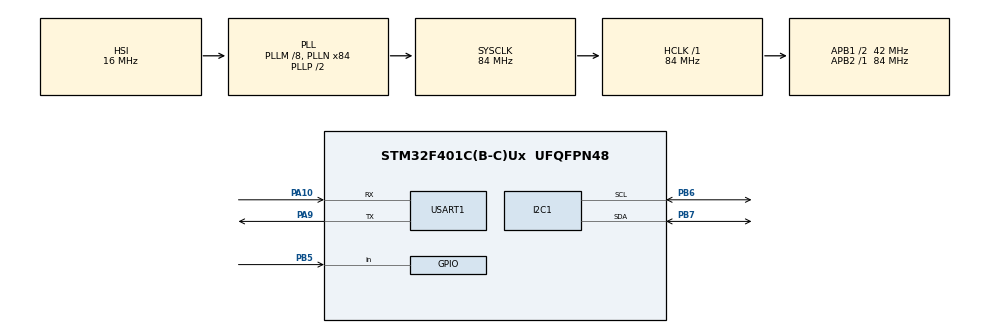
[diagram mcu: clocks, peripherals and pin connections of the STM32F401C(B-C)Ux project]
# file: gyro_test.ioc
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I2C1.I2C_Mode=I2C_Fast
Mcu.Family=STM32F4
Mcu.Name=STM32F401C(B-C)Ux
Mcu.Package=UFQFPN48
NVIC.PriorityGroup=NVIC_PRIORITYGROUP_4
PA10.Mode=Asynchronous
PA10.Signal=USART1_RX
PA9.Mode=Asynchronous
PA9.Signal=USART1_TX
PB5.Signal=GPIO_Input
PB6.Mode=I2C
PB6.Signal=I2C1_SCL
PB7.Mode=I2C
PB7.Signal=I2C1_SDA
ProjectManager.HeapSize=0x200
ProjectManager.StackSize=0x400
ProjectManager.TargetToolchain=STM32CubeIDE
RCC.48MHZClocksFreq_Value=42000000
RCC.AHBFreq_Value=84000000
RCC.APB1CLKDivider=RCC_HCLK_DIV2
RCC.APB1Freq_Value=42000000
RCC.APB1TimFreq_Value=84000000
RCC.APB2Freq_Value=84000000
RCC.APB2TimFreq_Value=84000000
RCC.CortexFreq_Value=84000000
RCC.HCLKFreq_Value=84000000
RCC.HSE_VALUE=25000000
RCC.HSI_VALUE=16000000
RCC.LSE_VALUE=32768
RCC.PLLM=8
RCC.PLLN=84
RCC.SYSCLKFreq_VALUE=84000000
RCC.SYSCLKSource=RCC_SYSCLKSOURCE_PLLCLK
RCC.VCOOutputFreq_Value=168000000
USART1.VirtualMode=VM_ASYNC
board=custom

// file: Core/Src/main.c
/* USER CODE BEGIN Header */
/**
  ******************************************************************************
  * @file           : main.c
  * @brief          : Main program body
  ******************************************************************************
  * @attention
  *
  * Copyright (c) 2025 STMicroelectronics.
  * All rights reserved.
  *
  * This software is licensed under terms that can be found in the LICENSE file
  * in the root directory of this software component.
  * If no LICENSE file comes with this software, it is provided AS-IS.
  *
  ******************************************************************************
  */
/* USER CODE END Header */
#include "main.h"
#include "i2c.h"
#include "usart.h"
#include "gpio.h"

/* USER CODE BEGIN Includes */
#include "MPU6050.h"
#include <stdio.h>
/* USER CODE END Includes */

void SystemClock_Config(void);

/* USER CODE BEGIN 0 */
// Send printf to uart1
int _write(int fd, char* ptr, int len) {
  HAL_StatusTypeDef hstatus;

  if (fd == 1 || fd == 2) {
    hstatus = HAL_UART_Transmit(&huart1, (uint8_t *) ptr, len, HAL_MAX_DELAY);
    if (hstatus == HAL_OK)
      return len;
    else
      return -1;
  }
  return -1;
}
/* USER CODE END 0 */

int main(void)
{

  /* MCU Configuration--------------------------------------------------------*/

  /* Reset of all peripherals, Initializes the Flash interface and the Systick. */
  HAL_Init();

  /* Configure the system clock */
  SystemClock_Config();

  /* Initialize all configured peripherals */
  MX_GPIO_Init();
  MX_I2C1_Init();
  MX_USART1_UART_Init();
  /* USER CODE BEGIN 2 */
  MPU6050_t mpu;

  HAL_Delay(50);

  printf("STM32 Booting...\r\n");
  HAL_Delay(10);

  if (MPU6050_Init(&mpu, &hi2c1, 1, 0) != 0) {
      printf("MPU6050 initialization failed!\r\n");
      while(1);
  }

  printf("MPU6050 Initialized\r\n");
  HAL_Delay(10);

  HAL_Delay(100);  // stabilize

  printf("Starting MPU6050 Calibration... keep board still!\r\n");
  HAL_Delay(10);

  MPU6050_CalcOffsets(&mpu, 1, 1);  // 1 = yes, calibrate gyro & accel
  printf("Calibration Done!\r\n");
  HAL_Delay(10);

  float angz=0;
  uint32_t t = 0;
  uint32_t now=0;
  /* USER CODE END 2 */

  /* Infinite loop */
  /* USER CODE BEGIN WHILE */
  while (1)
  {
	  now=HAL_GetTick();
	  if(now-t>=5){
	  MPU6050_Update(&mpu);
	  t=now;
	  }

	  angz = mpu.angleZ;
	  printf("angle: %.2f \n",angz);
    /* USER CODE END WHILE */

  }
}

void SystemClock_Config(void)
{
  RCC_OscInitTypeDef RCC_OscInitStruct = {0};
  RCC_ClkInitTypeDef RCC_ClkInitStruct = {0};

  /** Configure the main internal regulator output voltage
  */
  __HAL_RCC_PWR_CLK_ENABLE();
  __HAL_PWR_VOLTAGESCALING_CONFIG(PWR_REGULATOR_VOLTAGE_SCALE2);

  /** Initializes the RCC Oscillators according to the specified parameters
  * in the RCC_OscInitTypeDef structure.
  */
  RCC_OscInitStruct.OscillatorType = RCC_OSCILLATORTYPE_HSI;
  RCC_OscInitStruct.HSIState = RCC_HSI_ON;
  RCC_OscInitStruct.HSICalibrationValue = RCC_HSICALIBRATION_DEFAULT;
  RCC_OscInitStruct.PLL.PLLState = RCC_PLL_ON;
  RCC_OscInitStruct.PLL.PLLSource = RCC_PLLSOURCE_HSI;
  RCC_OscInitStruct.PLL.PLLM = 8;
  RCC_OscInitStruct.PLL.PLLN = 84;
  RCC_OscInitStruct.PLL.PLLP = RCC_PLLP_DIV2;
  RCC_OscInitStruct.PLL.PLLQ = 4;
  if (HAL_RCC_OscConfig(&RCC_OscInitStruct) != HAL_OK)
  {
    Error_Handler();
  }

  /** Initializes the CPU, AHB and APB buses clocks
  */
  RCC_ClkInitStruct.ClockType = RCC_CLOCKTYPE_HCLK|RCC_CLOCKTYPE_SYSCLK
                              |RCC_CLOCKTYPE_PCLK1|RCC_CLOCKTYPE_PCLK2;
  RCC_ClkInitStruct.SYSCLKSource = RCC_SYSCLKSOURCE_PLLCLK;
  RCC_ClkInitStruct.AHBCLKDivider = RCC_SYSCLK_DIV1;
  RCC_ClkInitStruct.APB1CLKDivider = RCC_HCLK_DIV2;
  RCC_ClkInitStruct.APB2CLKDivider = RCC_HCLK_DIV1;

  if (HAL_RCC_ClockConfig(&RCC_ClkInitStruct, FLASH_LATENCY_2) != HAL_OK)
  {
    Error_Handler();
  }
}

void Error_Handler(void)
{
  __disable_irq();
  while (1)
  {
  }
}
